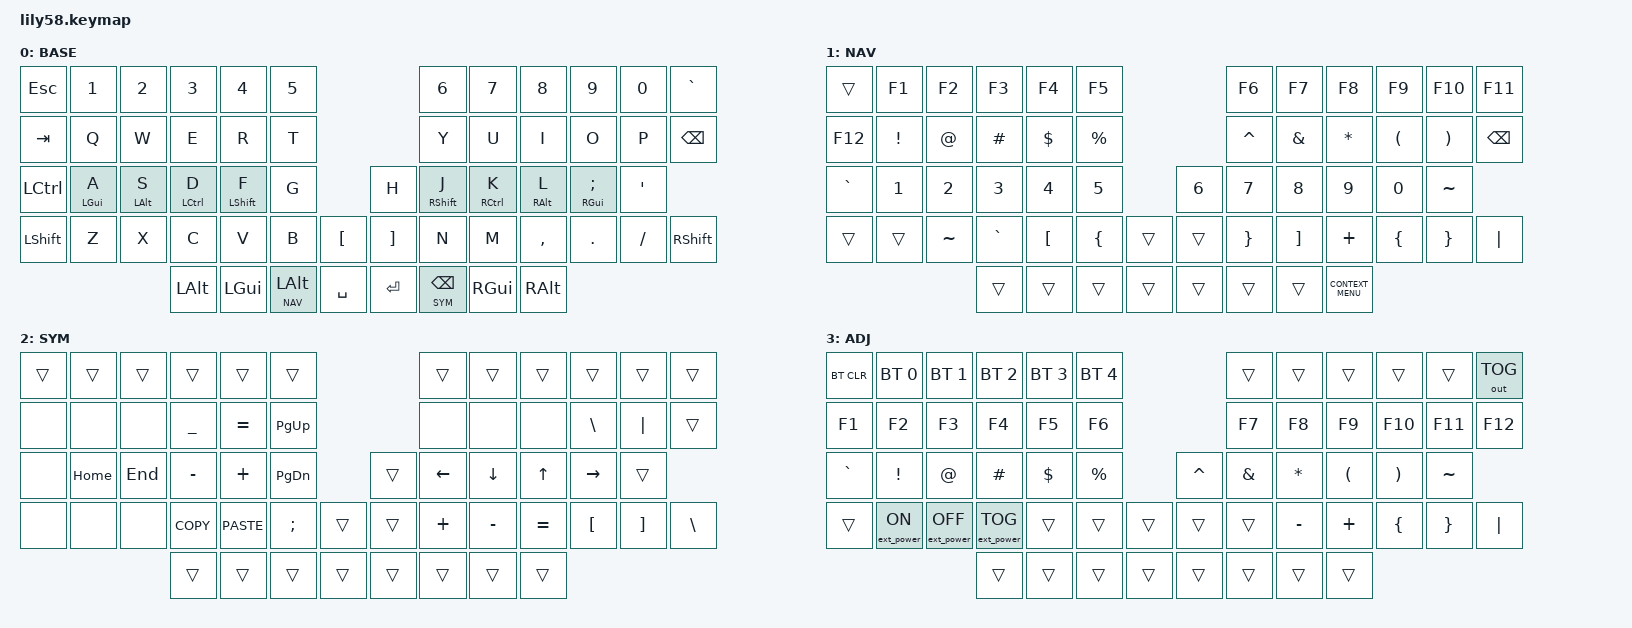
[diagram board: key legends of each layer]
/*
 * Copyright (c) 2022 The ZMK Contributors
 *
 * SPDX-License-Identifier: MIT
 */

#include <behaviors.dtsi>
#include <dt-bindings/zmk/bt.h>
#include <dt-bindings/zmk/ext_power.h>
#include <dt-bindings/zmk/keys.h>
#include <dt-bindings/zmk/outputs.h>
#include <zmk-helpers/helper.h>
#define LILY58_STANDARD_LABELS
#include <zmk-helpers/key-labels/lily58.h>

#define BASE 0
#define NAV  1
#define SYM  2
#define ADJ  3

/* ── Key-position groups (lily58: 6 cols × 4 letter rows + number row + thumbs) ──
 * Overrides the KEYS_L/KEYS_R/THUMBS from key-labels/lily58.h: adds the number
 * row and the two encoder positions (LEC/REC) that the standard labels omit. */
#undef KEYS_L
#undef KEYS_R
#undef THUMBS
#define KEYS_L LN0 LN1 LN2 LN3 LN4 LN5  LT0 LT1 LT2 LT3 LT4 LT5  LM0 LM1 LM2 LM3 LM4 LM5  LB0 LB1 LB2 LB3 LB4 LB5
#define KEYS_R RN0 RN1 RN2 RN3 RN4 RN5  RT0 RT1 RT2 RT3 RT4 RT5  RM0 RM1 RM2 RM3 RM4 RM5  RB0 RB1 RB2 RB3 RB4 RB5
#define THUMBS LH0 LH1 LH2 LH3  RH0 RH1 RH2 RH3  LEC REC

#include "include/hrm.dtsi"

&lt { tapping-term-ms = <150>; };

/ {
    conditional_layers {
        compatible = "zmk,conditional-layers";

        tri_layer {
            if-layers = <NAV SYM>;
            then-layer = <ADJ>;
        };
    };

    keymap {
        compatible = "zmk,keymap";

        base {
            display-name = "BASE";

            // ------------------------------------------------------------------------------------------------------------
            // |  ESC  |  1  |  2  |  3   |  4   |  5   |                   |  6   |  7    |  8    |  9   |   0   |   `   |
            // |  TAB  |  Q  |  W  |  E   |  R   |  T   |                   |  Y   |  U    |  I    |  O   |   P   | BSPC  |
            // |  CTRL |  A  |  S  |  D   |  F   |  G   |                   |  H   |  J    |  K    |  L   |   ;   |   '   |
            // | SHIFT |  Z  |  X  |  C   |  V   |  B   |   "["  |  |  "]"  |  N   |  M    |  ,    |  .   |   /   | SHIFT |
            //                     | ALT  | GUI  | LOWER|  SPACE |  | ENTER | RAISE| BSPC  | GUI   |

            bindings = <
&kp ESC    &kp N1  &kp N2  &kp N3    &kp N4    &kp N5                                 &kp N6               &kp N7    &kp N8         &kp N9   &kp N0    &kp GRAVE
&kp TAB    &kp Q   &kp W   &kp E     &kp R     &kp T                                  &kp Y                &kp U     &kp I          &kp O    &kp P     &kp BSPC
&kp LCTRL  &hml LGUI A  &hml LALT S  &hml LCTRL D  &hml LSHFT F  &kp G    &kp H  &hmr RSHFT J  &hmr RCTRL K  &hmr RALT L  &hmr RGUI SEMI  &kp SQT
&kp LSHFT  &kp Z   &kp X   &kp C     &kp V     &kp B          &kp LBKT     &kp RBKT  &kp N              &kp M     &kp COMMA      &kp DOT  &kp FSLH  &kp RSHFT
                           &kp LALT  &kp LGUI  &lt NAV LALT   &kp SPACE    &kp RET   &lt SYM BACKSPACE  &kp RGUI  &kp RIGHT_ALT
            >;
        };

        nav {
            display-name = "NAV";

            // ------------------------------------------------------------------------------------------------------------
            // | BTCLR | BT1 | BT2 |  BT3 |  BT4 |  BT5 |                   |      |       |       |      |       |       |
            // |  F1   |  F2 |  F3 |  F4  |  F5  |  F6  |                   |  F7  |  F8   |  F9   |  F10 |  F11  |  F12  |
            // |       |  !  |  @  |  #   |  $   |  %   |                   |  ^   |  &    |  *    |  (   |   )   |   ~   |
            // |   `   |  1  |  2  |  3   |  4   |  5   |                   |  6   |   7   |   8   |  9   |   0   |       |
            // |       |     |     |      |      |      |        |  |       |      |  _    |  +    |  {   |   }   |  "|"  |
            //                     |      |      |      |        |  |       |      |       |       |

            bindings = <
&trans     &kp F1        &kp F2        &kp F3        &kp F4            &kp F5                            &kp F6           &kp F7             &kp F8              &kp F9                &kp F10                &kp F11
&kp F12    &kp EXCL      &kp AT        &kp HASH      &kp DOLLAR        &kp PERCENT                       &kp CARET        &kp AMPERSAND      &kp ASTERISK        &kp LEFT_PARENTHESIS  &kp RIGHT_PARENTHESIS  &kp BACKSPACE
&kp GRAVE  &kp NUMBER_1  &kp NUMBER_2  &kp NUMBER_3  &kp NUMBER_4      &kp N5                            &kp NUMBER_6     &kp NUMBER_7       &kp N8              &kp N9                &kp NUMBER_0           &kp TILDE
&trans     &trans        &kp TILDE     &kp GRAVE     &kp LEFT_BRACKET  &kp LEFT_BRACE  &trans    &trans  &kp RIGHT_BRACE  &kp RIGHT_BRACKET  &kp PLUS            &kp LBRC              &kp RBRC               &kp PIPE
                                       &trans        &trans            &trans          &trans    &trans  &trans           &trans             &kp K_CONTEXT_MENU
            >;
        };

        sym {
            display-name = "SYM";

            // ------------------------------------------------------------------------------------------------------------
            // |       |     |     |      |      |      |                   |      |       |       |      |       |       |
            // |   `   |  1  |  2  |  3   |  4   |  5   |                   |  6   |   7   |   8   |  9   |   0   |       |
            // |   F1  |  F2 |  F3 |  F4  |  F5  |  F6  |                   |      |   <-  |   v   |  ^   |  ->   |       |
            // |   F7  |  F8 |  F9 |  F10 |  F11 |  F12 |        |  |       |  +   |   -   |   =   |  [   |   ]   |   \   |
            //                     |      |      |      |        |  |       |      |       |       |

            bindings = <
&trans  &trans    &trans   &trans          &trans       &trans                           &trans    &trans     &trans     &trans         &trans     &trans
&none   &none     &none    &kp UNDERSCORE  &kp EQUAL    &kp PAGE_UP                      &none     &none      &none      &kp BACKSLASH  &kp PIPE   &trans
&none   &kp HOME  &kp END  &kp MINUS       &kp PLUS     &kp PAGE_DOWN                    &trans    &kp LEFT   &kp DOWN   &kp UP         &kp RIGHT  &trans
&none   &none     &none    &kp K_COPY      &kp K_PASTE  &kp SEMI       &trans    &trans  &kp PLUS  &kp MINUS  &kp EQUAL  &kp LBKT       &kp RBKT   &kp BSLH
                           &trans          &trans       &trans         &trans    &trans  &trans    &trans     &trans
            >;
        };

        adj {
            display-name = "ADJ";
            bindings = <
&bt BT_CLR  &bt BT_SEL 0      &bt BT_SEL 1       &bt BT_SEL 2       &bt BT_SEL 3  &bt BT_SEL 4                    &trans     &trans     &trans    &trans    &trans    &out OUT_TOG
&kp F1      &kp F2            &kp F3             &kp F4             &kp F5        &kp F6                          &kp F7     &kp F8     &kp F9    &kp F10   &kp F11   &kp F12
&kp GRAVE   &kp EXCL          &kp AT             &kp HASH           &kp DOLLAR    &kp PRCNT                       &kp CARET  &kp AMPS   &kp STAR  &kp LPAR  &kp RPAR  &kp TILDE
&trans      &ext_power EP_ON  &ext_power EP_OFF  &ext_power EP_TOG  &trans        &trans        &trans    &trans  &trans     &kp MINUS  &kp PLUS  &kp LBRC  &kp RBRC  &kp PIPE
                                                 &trans             &trans        &trans        &trans    &trans  &trans     &trans     &trans
            >;
        };

        extra1 {
            status = "reserved";
        };

        extra2 {
            status = "reserved";
        };

        extra3 {
            status = "reserved";
        }; 

        extra4 {
            status = "reserved";
        }; 
    };
};
